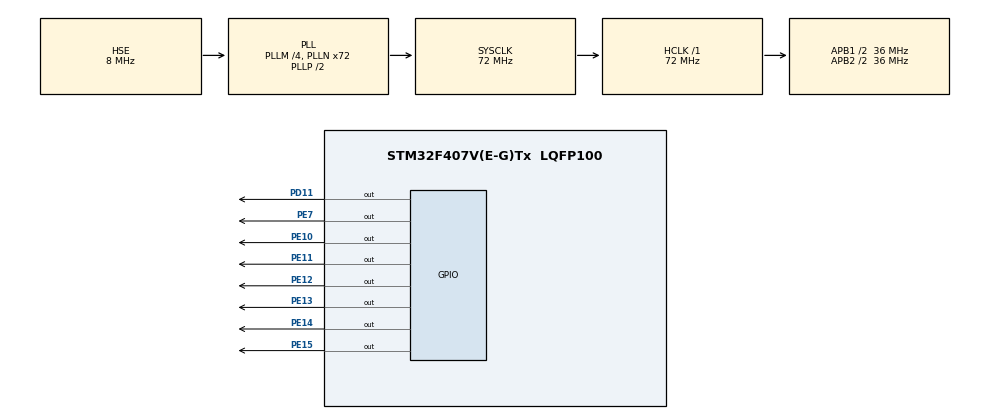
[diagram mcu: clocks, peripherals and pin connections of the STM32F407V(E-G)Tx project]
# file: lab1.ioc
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Mcu.Family=STM32F4
Mcu.Name=STM32F407V(E-G)Tx
Mcu.Package=LQFP100
NVIC.PriorityGroup=NVIC_PRIORITYGROUP_4
PA13.Mode=Serial_Wire
PA13.Signal=SYS_JTMS-SWDIO
PA14.Mode=Serial_Wire
PA14.Signal=SYS_JTCK-SWCLK
PD11.Signal=GPIO_Output
PE10.Signal=GPIO_Output
PE11.Signal=GPIO_Output
PE12.Signal=GPIO_Output
PE13.Signal=GPIO_Output
PE14.Signal=GPIO_Output
PE15.Signal=GPIO_Output
PE7.Signal=GPIO_Output
PH0-OSC_IN.Mode=HSE-External-Oscillator
PH0-OSC_IN.Signal=RCC_OSC_IN
PH1-OSC_OUT.Mode=HSE-External-Oscillator
PH1-OSC_OUT.Signal=RCC_OSC_OUT
ProjectManager.HeapSize=0x200
ProjectManager.StackSize=0x400
ProjectManager.TargetToolchain=STM32CubeIDE
RCC.48MHZClocksFreq_Value=36000000
RCC.AHBFreq_Value=72000000
RCC.APB1CLKDivider=RCC_HCLK_DIV2
RCC.APB1Freq_Value=36000000
RCC.APB1TimFreq_Value=72000000
RCC.APB2CLKDivider=RCC_HCLK_DIV2
RCC.APB2Freq_Value=36000000
RCC.APB2TimFreq_Value=72000000
RCC.CortexFreq_Value=72000000
RCC.HCLKFreq_Value=72000000
RCC.HSE_VALUE=8000000
RCC.HSI_VALUE=16000000
RCC.LSE_VALUE=32768
RCC.PLLM=4
RCC.PLLN=72
RCC.PLLSourceVirtual=RCC_PLLSOURCE_HSE
RCC.SYSCLKFreq_VALUE=72000000
RCC.SYSCLKSource=RCC_SYSCLKSOURCE_PLLCLK
RCC.VCOOutputFreq_Value=144000000
TIM1.Prescaler=71
VP_TIM1_VS_ClockSourceINT.Mode=Internal
board=custom

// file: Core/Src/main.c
/* USER CODE BEGIN Header */
/**
  ******************************************************************************
  * @file           : main.c
  * @brief          : Main program body
  ******************************************************************************
  * @attention
  *
  * <h2><center>&copy; Copyright (c) 2021 STMicroelectronics.
  * All rights reserved.</center></h2>
  *
  * This software component is licensed by ST under BSD 3-Clause license,
  * the "License"; You may not use this file except in compliance with the
  * License. You may obtain a copy of the License at:
  *                        opensource.org/licenses/BSD-3-Clause
  *
  ******************************************************************************
  */
/* USER CODE END Header */
#include "main.h"

/* USER CODE BEGIN Includes */
#include "LCD1602.h"
#include "DH11.h"
/* USER CODE END Includes */

TIM_HandleTypeDef htim1;

void SystemClock_Config(void);
static void MX_GPIO_Init(void);
static void MX_TIM1_Init(void);

int main(void)
{

  /* MCU Configuration--------------------------------------------------------*/

  /* Reset of all peripherals, Initializes the Flash interface and the Systick. */
  HAL_Init();

  /* Configure the system clock */
  SystemClock_Config();

  /* Initialize all configured peripherals */
  MX_GPIO_Init();
  MX_TIM1_Init();
  /* USER CODE BEGIN 2 */
  HAL_TIM_Base_Start(&htim1);

  initLCD();
  char tempStr[16];
  char humidStr[16];
  float dh11Data[2];
  /* USER CODE END 2 */

  /* Infinite loop */
  while (1)
  {

    /* USER CODE BEGIN 3 */
	clear();
	setCursor(0, 0);

	if(DHT11_GetData(htim1, dh11Data) != (char)-1){
		//sprintf(tempStr, "Temp: %f", dh11Data[0]); // @suppress("Float formatting support")
		int intpart, fracpart;
		intpart = (int)dh11Data[0];
		sprintf(tempStr, "temp: %d", intpart);
		lcdString(tempStr);

		//sprintf(humidStr, "Humid: %f", dh11Data[1]); // @suppress("Float formatting support")

		setCursor(1, 1);
		intpart = (int)dh11Data[1];
		sprintf(humidStr, "humid: %d", intpart);
		lcdString(humidStr);
	}else{
		lcdString("Data not found");
	}

	HAL_Delay(2000);
  }
  /* USER CODE END 3 */
}

void SystemClock_Config(void)
{
  RCC_OscInitTypeDef RCC_OscInitStruct = {0};
  RCC_ClkInitTypeDef RCC_ClkInitStruct = {0};

  /** Configure the main internal regulator output voltage
  */
  __HAL_RCC_PWR_CLK_ENABLE();
  __HAL_PWR_VOLTAGESCALING_CONFIG(PWR_REGULATOR_VOLTAGE_SCALE1);
  /** Initializes the RCC Oscillators according to the specified parameters
  * in the RCC_OscInitTypeDef structure.
  */
  RCC_OscInitStruct.OscillatorType = RCC_OSCILLATORTYPE_HSE;
  RCC_OscInitStruct.HSEState = RCC_HSE_ON;
  RCC_OscInitStruct.PLL.PLLState = RCC_PLL_ON;
  RCC_OscInitStruct.PLL.PLLSource = RCC_PLLSOURCE_HSE;
  RCC_OscInitStruct.PLL.PLLM = 4;
  RCC_OscInitStruct.PLL.PLLN = 72;
  RCC_OscInitStruct.PLL.PLLP = RCC_PLLP_DIV2;
  RCC_OscInitStruct.PLL.PLLQ = 4;
  if (HAL_RCC_OscConfig(&RCC_OscInitStruct) != HAL_OK)
  {
    Error_Handler();
  }
  /** Initializes the CPU, AHB and APB buses clocks
  */
  RCC_ClkInitStruct.ClockType = RCC_CLOCKTYPE_HCLK|RCC_CLOCKTYPE_SYSCLK
                              |RCC_CLOCKTYPE_PCLK1|RCC_CLOCKTYPE_PCLK2;
  RCC_ClkInitStruct.SYSCLKSource = RCC_SYSCLKSOURCE_PLLCLK;
  RCC_ClkInitStruct.AHBCLKDivider = RCC_SYSCLK_DIV1;
  RCC_ClkInitStruct.APB1CLKDivider = RCC_HCLK_DIV2;
  RCC_ClkInitStruct.APB2CLKDivider = RCC_HCLK_DIV2;

  if (HAL_RCC_ClockConfig(&RCC_ClkInitStruct, FLASH_LATENCY_2) != HAL_OK)
  {
    Error_Handler();
  }
}

static void MX_TIM1_Init(void)
{

  TIM_ClockConfigTypeDef sClockSourceConfig = {0};
  TIM_MasterConfigTypeDef sMasterConfig = {0};

  htim1.Instance = TIM1;
  htim1.Init.Prescaler = 71;
  htim1.Init.CounterMode = TIM_COUNTERMODE_UP;
  htim1.Init.Period = 65535;
  htim1.Init.ClockDivision = TIM_CLOCKDIVISION_DIV1;
  htim1.Init.RepetitionCounter = 0;
  htim1.Init.AutoReloadPreload = TIM_AUTORELOAD_PRELOAD_DISABLE;
  if (HAL_TIM_Base_Init(&htim1) != HAL_OK)
  {
    Error_Handler();
  }
  sClockSourceConfig.ClockSource = TIM_CLOCKSOURCE_INTERNAL;
  if (HAL_TIM_ConfigClockSource(&htim1, &sClockSourceConfig) != HAL_OK)
  {
    Error_Handler();
  }
  sMasterConfig.MasterOutputTrigger = TIM_TRGO_RESET;
  sMasterConfig.MasterSlaveMode = TIM_MASTERSLAVEMODE_DISABLE;
  if (HAL_TIMEx_MasterConfigSynchronization(&htim1, &sMasterConfig) != HAL_OK)
  {
    Error_Handler();
  }

}

static void MX_GPIO_Init(void)
{
  GPIO_InitTypeDef GPIO_InitStruct = {0};

  /* GPIO Ports Clock Enable */
  __HAL_RCC_GPIOH_CLK_ENABLE();
  __HAL_RCC_GPIOE_CLK_ENABLE();
  __HAL_RCC_GPIOD_CLK_ENABLE();
  __HAL_RCC_GPIOA_CLK_ENABLE();

  /*Configure GPIO pin Output Level */
  HAL_GPIO_WritePin(GPIOE, GPIO_PIN_7|GPIO_PIN_10|GPIO_PIN_11|GPIO_PIN_12
                          |GPIO_PIN_13|GPIO_PIN_14|GPIO_PIN_15, GPIO_PIN_RESET);

  /*Configure GPIO pin Output Level */
  HAL_GPIO_WritePin(GPIOD, GPIO_PIN_11, GPIO_PIN_RESET);

  /*Configure GPIO pins : PE7 PE10 PE11 PE12
                           PE13 PE14 PE15 */
  GPIO_InitStruct.Pin = GPIO_PIN_7|GPIO_PIN_10|GPIO_PIN_11|GPIO_PIN_12
                          |GPIO_PIN_13|GPIO_PIN_14|GPIO_PIN_15;
  GPIO_InitStruct.Mode = GPIO_MODE_OUTPUT_PP;
  GPIO_InitStruct.Pull = GPIO_NOPULL;
  GPIO_InitStruct.Speed = GPIO_SPEED_FREQ_LOW;
  HAL_GPIO_Init(GPIOE, &GPIO_InitStruct);

  /*Configure GPIO pin : PD11 */
  GPIO_InitStruct.Pin = GPIO_PIN_11;
  GPIO_InitStruct.Mode = GPIO_MODE_OUTPUT_PP;
  GPIO_InitStruct.Pull = GPIO_NOPULL;
  GPIO_InitStruct.Speed = GPIO_SPEED_FREQ_LOW;
  HAL_GPIO_Init(GPIOD, &GPIO_InitStruct);

}

void Error_Handler(void)
{
  __disable_irq();
  while (1)
  {
  }
}

/************************ (C) COPYRIGHT STMicroelectronics *****END OF FILE****/
